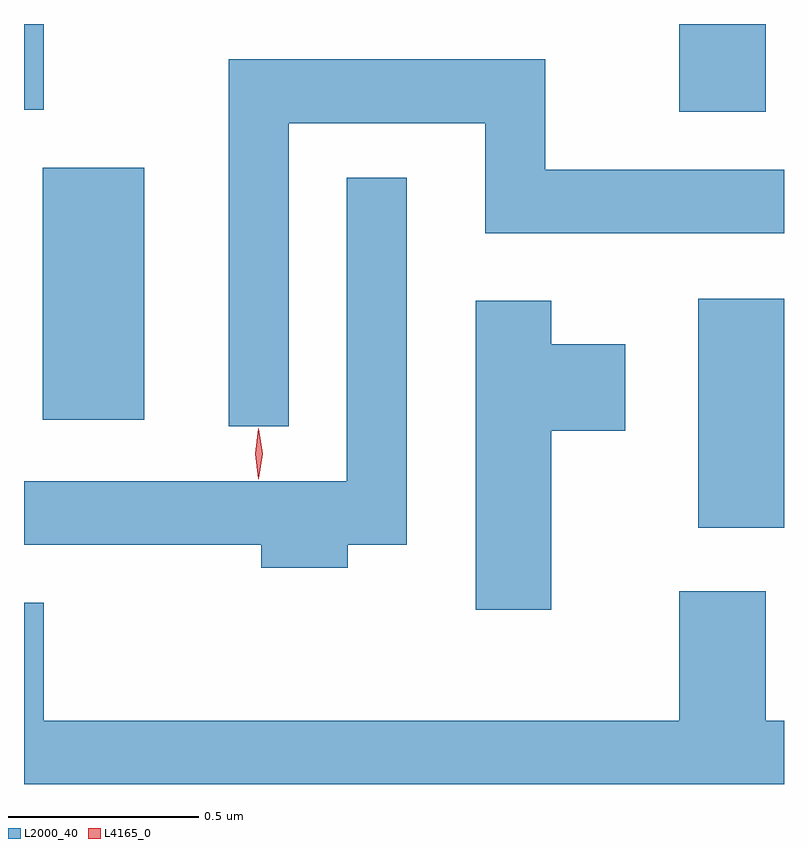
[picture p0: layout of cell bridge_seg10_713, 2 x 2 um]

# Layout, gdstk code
import gdstk
lib = gdstk.Library(unit=1e-6, precision=1e-09)
def R(c, l, rs):  # rectangles x0, y0, x1, y1
    for r in rs: c.add(gdstk.rectangle(r[:2], r[2:], *l))
def P(c, l, *ps):  # polygons
    for p in ps: c.add(gdstk.Polygon(p, *l))
L2000_40 = (2000, 40)
L4165_0 = (4165, 0)

bridge_seg10_713 = lib.new_cell('bridge_seg10_713')
R(bridge_seg10_713, L2000_40, [(954.401,2116.911,954.627,2117.514), (952.676,2117.196,952.944,2117.859), (954.351,2118.006,954.579,2118.237), (952.627,2118.011,952.679,2118.237)])
P(bridge_seg10_713, L2000_40, [(953.324,2117.976),(953.841,2117.976),(953.841,2117.686),(954.627,2117.686),(954.627,2117.854),(953.999,2117.854),(953.999,2118.144),(953.166,2118.144),(953.166,2117.178),(953.324,2117.178)],
  [(953.479,2116.866),(953.634,2116.866),(953.634,2117.833),(953.476,2117.833),(953.476,2117.034),(952.627,2117.034),(952.627,2116.866),(953.251,2116.866),(953.251,2116.806),(953.479,2116.806)],
  [(954.014,2117.166),(954.209,2117.166),(954.209,2117.394),(954.014,2117.394),(954.014,2117.509),(953.816,2117.509),(953.816,2116.696),(954.014,2116.696)],
  [(954.627,2116.404),(954.579,2116.404),(954.579,2116.744),(954.351,2116.744),(954.351,2116.404),(952.679,2116.404),(952.679,2116.714),(952.627,2116.714),(952.627,2116.237),(954.627,2116.237)])
P(bridge_seg10_713, L4165_0, [(953.245,2117.039),(953.244,2117.04),(953.235,2117.106),(953.244,2117.172),(953.245,2117.173),(953.245,2117.172),(953.255,2117.106),(953.245,2117.04)])

lib.write_gds('bridge_seg10_713.gds')
